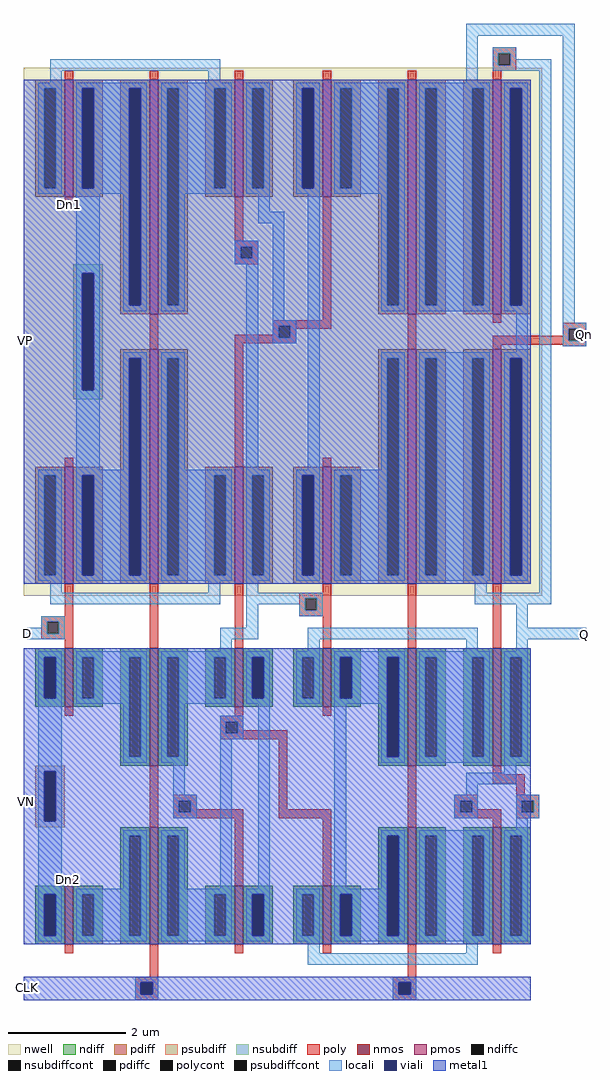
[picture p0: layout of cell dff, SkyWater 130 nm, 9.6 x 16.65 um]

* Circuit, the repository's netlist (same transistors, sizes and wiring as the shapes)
* NGSPICE file created from dff.ext - technology: sky130A

.subckt dff Dn1 Qn Q D Dn2 VP VN CLK
X0 Q CLK a_910_0# VP sky130_fd_pr__pfet_01v8 ad=2 pd=9 as=2 ps=9 w=4 l=0.15
X1 a_320_n1230# a_320_n620# a_n100_1320# VP sky130_fd_pr__pfet_01v8 ad=1 pd=5 as=1 ps=5 w=2 l=0.15
X2 a_30_n420# D VN VN sky130_fd_pr__nfet_01v8 ad=0.5 pd=3 as=0.5 ps=3 w=1 l=0.15
X3 a_30_n1230# Dn2 VN VN sky130_fd_pr__nfet_01v8 ad=0.5 pd=3 as=0.5 ps=3 w=1 l=0.15
X4 Qn CLK a_910_1320# VP sky130_fd_pr__pfet_01v8 ad=2 pd=9 as=2 ps=9 w=4 l=0.15
X5 Qn Q a_780_n1230# VN sky130_fd_pr__nfet_01v8 ad=1 pd=5 as=1 ps=5 w=2 l=0.15
X6 a_780_n1230# CLK VN VN sky130_fd_pr__nfet_01v8 ad=1 pd=5 as=1 ps=5 w=2 l=0.15
X7 a_n100_1320# CLK VP VP sky130_fd_pr__pfet_01v8 ad=2 pd=9 as=2 ps=9 w=4 l=0.15
X8 a_320_n620# a_320_n1230# a_n100_0# VP sky130_fd_pr__pfet_01v8 ad=1 pd=5 as=1 ps=5 w=2 l=0.15
X9 Q Qn a_780_n420# VN sky130_fd_pr__nfet_01v8 ad=1 pd=5 as=1 ps=5 w=2 l=0.15
X10 a_320_n620# CLK a_30_n420# VN sky130_fd_pr__nfet_01v8 ad=1 pd=5 as=1 ps=5 w=2 l=0.15
X11 a_910_1320# a_320_n1230# VP VP sky130_fd_pr__pfet_01v8 ad=1 pd=5 as=1 ps=5 w=2 l=0.15
X12 VN a_320_n1230# a_780_n1230# VN sky130_fd_pr__nfet_01v8 ad=0.5 pd=3 as=0.5 ps=3 w=1 l=0.15
X13 VP Q Qn VP sky130_fd_pr__pfet_01v8 ad=2 pd=9 as=2 ps=9 w=4 l=0.15
X14 VN a_320_n1230# a_320_n620# VN sky130_fd_pr__nfet_01v8 ad=0.5 pd=3 as=0.5 ps=3 w=1 l=0.15
X15 VP Qn Q VP sky130_fd_pr__pfet_01v8 ad=2 pd=9 as=2 ps=9 w=4 l=0.15
X16 a_n100_0# CLK VP VP sky130_fd_pr__pfet_01v8 ad=2 pd=9 as=2 ps=9 w=4 l=0.15
X17 a_780_n420# CLK VN VN sky130_fd_pr__nfet_01v8 ad=1 pd=5 as=1 ps=5 w=2 l=0.15
X18 VN a_320_n620# a_320_n1230# VN sky130_fd_pr__nfet_01v8 ad=0.5 pd=3 as=0.5 ps=3 w=1 l=0.15
X19 VP Dn1 a_n100_1320# VP sky130_fd_pr__pfet_01v8 ad=1 pd=5 as=1 ps=5 w=2 l=0.15
X20 a_320_n1230# CLK a_30_n1230# VN sky130_fd_pr__nfet_01v8 ad=1 pd=5 as=1 ps=5 w=2 l=0.15
X21 VN a_320_n620# a_780_n420# VN sky130_fd_pr__nfet_01v8 ad=0.5 pd=3 as=0.5 ps=3 w=1 l=0.15
X22 a_910_0# a_320_n620# VP VP sky130_fd_pr__pfet_01v8 ad=1 pd=5 as=1 ps=5 w=2 l=0.15
X23 VP D a_n100_0# VP sky130_fd_pr__pfet_01v8 ad=1 pd=5 as=1 ps=5 w=2 l=0.15
.ends

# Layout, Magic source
magic
tech sky130A
<< nwell >>
rect -70 -20 815 880
<< nmos >>
rect 0 -210 15 -110
rect 145 -310 160 -110
rect 290 -210 305 -110
rect 440 -210 455 -110
rect 585 -310 600 -110
rect 730 -310 745 -110
rect 0 -615 15 -515
rect 145 -615 160 -415
rect 290 -615 305 -515
rect 440 -615 455 -515
rect 585 -615 600 -415
rect 730 -615 745 -415
<< pmos >>
rect 0 660 15 860
rect 145 460 160 860
rect 290 660 305 860
rect 440 660 455 860
rect 585 460 600 860
rect 730 460 745 860
rect 0 0 15 200
rect 145 0 160 400
rect 290 0 305 200
rect 440 0 455 200
rect 585 0 600 400
rect 730 0 745 400
<< ndiff >>
rect -50 -125 0 -110
rect -50 -195 -35 -125
rect -15 -195 0 -125
rect -50 -210 0 -195
rect 15 -125 65 -110
rect 15 -195 30 -125
rect 50 -195 65 -125
rect 15 -210 65 -195
rect 95 -125 145 -110
rect 95 -295 110 -125
rect 130 -295 145 -125
rect 95 -310 145 -295
rect 160 -125 210 -110
rect 160 -295 175 -125
rect 195 -295 210 -125
rect 240 -125 290 -110
rect 240 -195 255 -125
rect 275 -195 290 -125
rect 240 -210 290 -195
rect 305 -125 355 -110
rect 305 -195 320 -125
rect 340 -195 355 -125
rect 305 -210 355 -195
rect 390 -125 440 -110
rect 390 -195 405 -125
rect 425 -195 440 -125
rect 390 -210 440 -195
rect 455 -125 505 -110
rect 455 -195 470 -125
rect 490 -195 505 -125
rect 455 -210 505 -195
rect 535 -125 585 -110
rect 160 -310 210 -295
rect 535 -295 550 -125
rect 570 -295 585 -125
rect 535 -310 585 -295
rect 600 -125 650 -110
rect 600 -295 615 -125
rect 635 -295 650 -125
rect 600 -310 650 -295
rect 680 -125 730 -110
rect 680 -295 695 -125
rect 715 -295 730 -125
rect 680 -310 730 -295
rect 745 -125 795 -110
rect 745 -295 760 -125
rect 780 -295 795 -125
rect 745 -310 795 -295
rect 95 -430 145 -415
rect -50 -530 0 -515
rect -50 -600 -35 -530
rect -15 -600 0 -530
rect -50 -615 0 -600
rect 15 -530 65 -515
rect 15 -600 30 -530
rect 50 -600 65 -530
rect 15 -615 65 -600
rect 95 -600 110 -430
rect 130 -600 145 -430
rect 95 -615 145 -600
rect 160 -430 210 -415
rect 160 -600 175 -430
rect 195 -600 210 -430
rect 535 -430 585 -415
rect 160 -615 210 -600
rect 240 -530 290 -515
rect 240 -600 255 -530
rect 275 -600 290 -530
rect 240 -615 290 -600
rect 305 -530 355 -515
rect 305 -600 320 -530
rect 340 -600 355 -530
rect 305 -615 355 -600
rect 390 -530 440 -515
rect 390 -600 405 -530
rect 425 -600 440 -530
rect 390 -615 440 -600
rect 455 -530 505 -515
rect 455 -600 470 -530
rect 490 -600 505 -530
rect 455 -615 505 -600
rect 535 -600 550 -430
rect 570 -600 585 -430
rect 535 -615 585 -600
rect 600 -430 650 -415
rect 600 -600 615 -430
rect 635 -600 650 -430
rect 600 -615 650 -600
rect 680 -430 730 -415
rect 680 -600 695 -430
rect 715 -600 730 -430
rect 680 -615 730 -600
rect 745 -430 795 -415
rect 745 -600 760 -430
rect 780 -600 795 -430
rect 745 -615 795 -600
<< pdiff >>
rect -50 845 0 860
rect -50 675 -35 845
rect -15 675 0 845
rect -50 660 0 675
rect 15 845 65 860
rect 15 675 30 845
rect 50 675 65 845
rect 15 660 65 675
rect 95 845 145 860
rect 95 475 110 845
rect 130 475 145 845
rect 95 460 145 475
rect 160 845 210 860
rect 160 475 175 845
rect 195 475 210 845
rect 240 845 290 860
rect 240 675 255 845
rect 275 675 290 845
rect 240 660 290 675
rect 305 845 355 860
rect 305 675 320 845
rect 340 675 355 845
rect 305 660 355 675
rect 390 845 440 860
rect 390 675 405 845
rect 425 675 440 845
rect 390 660 440 675
rect 455 845 505 860
rect 455 675 470 845
rect 490 675 505 845
rect 455 660 505 675
rect 535 845 585 860
rect 160 460 210 475
rect 535 475 550 845
rect 570 475 585 845
rect 535 460 585 475
rect 600 845 650 860
rect 600 475 615 845
rect 635 475 650 845
rect 600 460 650 475
rect 680 845 730 860
rect 680 475 695 845
rect 715 475 730 845
rect 680 460 730 475
rect 745 845 795 860
rect 745 475 760 845
rect 780 475 795 845
rect 745 460 795 475
rect 95 385 145 400
rect -50 185 0 200
rect -50 15 -35 185
rect -15 15 0 185
rect -50 0 0 15
rect 15 185 65 200
rect 15 15 30 185
rect 50 15 65 185
rect 15 0 65 15
rect 95 15 110 385
rect 130 15 145 385
rect 95 0 145 15
rect 160 385 210 400
rect 160 15 175 385
rect 195 15 210 385
rect 535 385 585 400
rect 160 0 210 15
rect 240 185 290 200
rect 240 15 255 185
rect 275 15 290 185
rect 240 0 290 15
rect 305 185 355 200
rect 305 15 320 185
rect 340 15 355 185
rect 305 0 355 15
rect 390 185 440 200
rect 390 15 405 185
rect 425 15 440 185
rect 390 0 440 15
rect 455 185 505 200
rect 455 15 470 185
rect 490 15 505 185
rect 455 0 505 15
rect 535 15 550 385
rect 570 15 585 385
rect 535 0 585 15
rect 600 385 650 400
rect 600 15 615 385
rect 635 15 650 385
rect 600 0 650 15
rect 680 385 730 400
rect 680 15 695 385
rect 715 15 730 385
rect 680 0 730 15
rect 745 385 795 400
rect 745 15 760 385
rect 780 15 795 385
rect 745 0 795 15
<< ndiffc >>
rect -35 -195 -15 -125
rect 30 -195 50 -125
rect 110 -295 130 -125
rect 175 -295 195 -125
rect 255 -195 275 -125
rect 320 -195 340 -125
rect 405 -195 425 -125
rect 470 -195 490 -125
rect 550 -295 570 -125
rect 615 -295 635 -125
rect 695 -295 715 -125
rect 760 -295 780 -125
rect -35 -600 -15 -530
rect 30 -600 50 -530
rect 110 -600 130 -430
rect 175 -600 195 -430
rect 255 -600 275 -530
rect 320 -600 340 -530
rect 405 -600 425 -530
rect 470 -600 490 -530
rect 550 -600 570 -430
rect 615 -600 635 -430
rect 695 -600 715 -430
rect 760 -600 780 -430
<< pdiffc >>
rect -35 675 -15 845
rect 30 675 50 845
rect 110 475 130 845
rect 175 475 195 845
rect 255 675 275 845
rect 320 675 340 845
rect 405 675 425 845
rect 470 675 490 845
rect 550 475 570 845
rect 615 475 635 845
rect 695 475 715 845
rect 760 475 780 845
rect -35 15 -15 185
rect 30 15 50 185
rect 110 15 130 385
rect 175 15 195 385
rect 255 15 275 185
rect 320 15 340 185
rect 405 15 425 185
rect 470 15 490 185
rect 550 15 570 385
rect 615 15 635 385
rect 695 15 715 385
rect 760 15 780 385
<< psubdiff >>
rect -50 -320 0 -310
rect -50 -405 -35 -320
rect -15 -405 0 -320
rect -50 -415 0 -405
<< nsubdiff >>
rect 15 530 65 545
rect 15 330 30 530
rect 50 330 65 530
rect 15 315 65 330
<< psubdiffcont >>
rect -35 -405 -15 -320
<< nsubdiffcont >>
rect 30 330 50 530
<< poly >>
rect 730 905 770 915
rect 730 885 740 905
rect 760 885 770 905
rect 730 875 770 885
rect 0 860 15 875
rect 145 860 160 875
rect 290 860 305 875
rect 440 860 455 875
rect 585 860 600 875
rect 730 860 745 875
rect 0 645 15 660
rect 290 585 305 660
rect 290 575 330 585
rect 290 555 300 575
rect 320 555 330 575
rect 290 545 330 555
rect 145 400 160 460
rect 440 450 455 660
rect 355 440 455 450
rect 355 425 365 440
rect 290 420 365 425
rect 385 435 455 440
rect 385 420 395 435
rect 290 410 395 420
rect 0 200 15 215
rect 290 200 305 410
rect 585 400 600 460
rect 730 445 745 460
rect 850 435 890 445
rect 850 423 860 435
rect 730 415 860 423
rect 880 415 890 435
rect 730 408 890 415
rect 730 400 745 408
rect 850 405 890 408
rect 440 200 455 215
rect 0 -55 15 0
rect -40 -65 15 -55
rect -40 -85 -30 -65
rect -10 -85 15 -65
rect -40 -95 15 -85
rect 0 -110 15 -95
rect 145 -110 160 0
rect 290 -110 305 0
rect 440 -15 455 0
rect 400 -25 455 -15
rect 400 -45 410 -25
rect 430 -45 455 -25
rect 400 -55 455 -45
rect 440 -110 455 -55
rect 585 -110 600 0
rect 730 -110 745 0
rect 0 -225 15 -210
rect 290 -225 305 -210
rect 440 -225 455 -210
rect 265 -235 305 -225
rect 265 -255 275 -235
rect 295 -250 305 -235
rect 295 -255 380 -250
rect 265 -265 380 -255
rect 145 -415 160 -310
rect 185 -370 225 -360
rect 185 -390 195 -370
rect 215 -385 225 -370
rect 365 -385 380 -265
rect 215 -390 305 -385
rect 185 -400 305 -390
rect 365 -400 455 -385
rect 0 -515 15 -500
rect 290 -515 305 -400
rect 440 -515 455 -400
rect 585 -415 600 -310
rect 730 -325 745 -310
rect 730 -340 785 -325
rect 770 -360 785 -340
rect 665 -370 705 -360
rect 665 -390 675 -370
rect 695 -385 705 -370
rect 770 -370 810 -360
rect 695 -390 745 -385
rect 665 -400 745 -390
rect 770 -390 780 -370
rect 800 -390 810 -370
rect 770 -400 810 -390
rect 730 -415 745 -400
rect 0 -630 15 -615
rect 145 -670 160 -615
rect 290 -630 305 -615
rect 440 -630 455 -615
rect 585 -670 600 -615
rect 730 -630 745 -615
rect 120 -680 160 -670
rect 120 -700 130 -680
rect 150 -700 160 -680
rect 120 -710 160 -700
rect 560 -680 600 -670
rect 560 -700 570 -680
rect 590 -700 600 -680
rect 560 -710 600 -700
<< polycont >>
rect 740 885 760 905
rect 300 555 320 575
rect 365 420 385 440
rect 860 415 880 435
rect -30 -85 -10 -65
rect 410 -45 430 -25
rect 275 -255 295 -235
rect 195 -390 215 -370
rect 675 -390 695 -370
rect 780 -390 800 -370
rect 130 -700 150 -680
rect 570 -700 590 -680
<< locali >>
rect 685 935 870 955
rect -25 875 265 895
rect -25 855 -5 875
rect 245 855 265 875
rect 685 855 705 935
rect 730 905 770 915
rect 730 885 740 905
rect 760 895 770 905
rect 760 885 830 895
rect 730 875 830 885
rect -45 845 -5 855
rect -45 675 -35 845
rect -15 675 -5 845
rect -45 665 -5 675
rect 20 845 140 855
rect 20 675 30 845
rect 50 675 110 845
rect 20 665 110 675
rect 20 530 60 665
rect 20 330 30 530
rect 50 330 60 530
rect 100 475 110 665
rect 130 475 140 845
rect 100 465 140 475
rect 165 845 285 855
rect 165 475 175 845
rect 195 675 255 845
rect 275 675 285 845
rect 195 665 285 675
rect 310 845 350 855
rect 310 675 320 845
rect 340 675 350 845
rect 310 665 350 675
rect 395 845 435 855
rect 395 675 405 845
rect 425 675 435 845
rect 395 665 435 675
rect 460 845 580 855
rect 460 675 470 845
rect 490 675 550 845
rect 460 665 550 675
rect 195 475 205 665
rect 330 635 350 665
rect 330 615 375 635
rect 290 575 330 585
rect 290 555 300 575
rect 320 555 330 575
rect 290 545 330 555
rect 165 465 205 475
rect 20 195 60 330
rect 100 385 140 395
rect 100 195 110 385
rect -45 185 -5 195
rect -45 15 -35 185
rect -15 15 -5 185
rect -45 5 -5 15
rect 20 185 110 195
rect 20 15 30 185
rect 50 15 110 185
rect 130 15 140 385
rect 20 5 140 15
rect 165 385 205 395
rect 165 15 175 385
rect 195 195 205 385
rect 310 195 330 545
rect 355 450 375 615
rect 355 440 395 450
rect 355 420 365 440
rect 385 420 395 440
rect 355 410 395 420
rect 415 195 435 665
rect 540 475 550 665
rect 570 475 580 845
rect 540 465 580 475
rect 605 845 725 855
rect 605 475 615 845
rect 635 475 695 845
rect 715 475 725 845
rect 605 465 725 475
rect 750 845 790 855
rect 750 475 760 845
rect 780 475 790 845
rect 750 465 790 475
rect 770 395 790 465
rect 540 385 580 395
rect 540 195 550 385
rect 195 185 285 195
rect 195 15 255 185
rect 275 15 285 185
rect 165 5 285 15
rect 310 185 350 195
rect 310 15 320 185
rect 340 15 350 185
rect 310 5 350 15
rect 395 185 435 195
rect 395 15 405 185
rect 425 15 435 185
rect 395 5 435 15
rect 460 185 550 195
rect 460 15 470 185
rect 490 15 550 185
rect 570 15 580 385
rect 460 5 580 15
rect 605 385 725 395
rect 605 15 615 385
rect 635 15 695 385
rect 715 15 725 385
rect 605 5 725 15
rect 750 385 790 395
rect 750 15 760 385
rect 780 15 790 385
rect 750 5 790 15
rect -25 -15 -5 5
rect 245 -15 265 5
rect -25 -35 265 -15
rect 310 -15 330 5
rect 700 -15 720 5
rect 810 -15 830 875
rect 850 445 870 935
rect 850 435 890 445
rect 850 415 860 435
rect 880 415 890 435
rect 850 405 890 415
rect 310 -25 440 -15
rect 310 -35 410 -25
rect -40 -65 0 -55
rect -40 -75 -30 -65
rect -70 -85 -30 -75
rect -10 -85 0 -65
rect 310 -75 330 -35
rect 400 -45 410 -35
rect 430 -45 440 -25
rect 700 -35 830 -15
rect 400 -55 440 -45
rect 770 -75 790 -35
rect -70 -95 0 -85
rect 265 -95 330 -75
rect 415 -95 705 -75
rect 265 -115 285 -95
rect 415 -115 435 -95
rect 685 -115 705 -95
rect 770 -95 890 -75
rect 770 -115 790 -95
rect -45 -125 -5 -115
rect -45 -195 -35 -125
rect -15 -195 -5 -125
rect -45 -320 -5 -195
rect 20 -125 140 -115
rect 20 -195 30 -125
rect 50 -195 110 -125
rect 20 -205 110 -195
rect 100 -295 110 -205
rect 130 -295 140 -125
rect 100 -305 140 -295
rect 165 -125 285 -115
rect 165 -295 175 -125
rect 195 -195 255 -125
rect 275 -195 285 -125
rect 195 -205 285 -195
rect 310 -125 350 -115
rect 310 -195 320 -125
rect 340 -195 350 -125
rect 310 -205 350 -195
rect 395 -125 435 -115
rect 395 -195 405 -125
rect 425 -195 435 -125
rect 395 -205 435 -195
rect 460 -125 580 -115
rect 460 -195 470 -125
rect 490 -195 550 -125
rect 460 -205 550 -195
rect 195 -295 205 -205
rect 165 -305 205 -295
rect -45 -405 -35 -320
rect -15 -405 -5 -320
rect 185 -360 205 -305
rect 265 -235 305 -225
rect 265 -255 275 -235
rect 295 -255 305 -235
rect 265 -265 305 -255
rect 185 -370 225 -360
rect 185 -390 195 -370
rect 215 -390 225 -370
rect 185 -400 225 -390
rect -45 -530 -5 -405
rect 100 -430 140 -420
rect 100 -520 110 -430
rect -45 -600 -35 -530
rect -15 -600 -5 -530
rect -45 -610 -5 -600
rect 20 -530 110 -520
rect 20 -600 30 -530
rect 50 -600 110 -530
rect 130 -600 140 -430
rect 20 -610 140 -600
rect 165 -430 205 -420
rect 165 -600 175 -430
rect 195 -520 205 -430
rect 265 -520 285 -265
rect 330 -520 350 -205
rect 460 -520 480 -205
rect 540 -295 550 -205
rect 570 -295 580 -125
rect 540 -305 580 -295
rect 605 -125 725 -115
rect 605 -295 615 -125
rect 635 -295 695 -125
rect 715 -295 725 -125
rect 605 -305 725 -295
rect 750 -125 790 -115
rect 750 -295 760 -125
rect 780 -295 790 -125
rect 750 -305 790 -295
rect 750 -322 770 -305
rect 685 -342 770 -322
rect 685 -360 705 -342
rect 665 -370 705 -360
rect 665 -390 675 -370
rect 695 -390 705 -370
rect 665 -400 705 -390
rect 770 -370 810 -360
rect 770 -390 780 -370
rect 800 -390 810 -370
rect 770 -400 810 -390
rect 770 -420 790 -400
rect 540 -430 580 -420
rect 540 -520 550 -430
rect 195 -530 285 -520
rect 195 -600 255 -530
rect 275 -600 285 -530
rect 165 -610 285 -600
rect 310 -530 350 -520
rect 310 -600 320 -530
rect 340 -600 350 -530
rect 310 -610 350 -600
rect 395 -530 435 -520
rect 395 -600 405 -530
rect 425 -600 435 -530
rect 395 -610 435 -600
rect 460 -530 550 -520
rect 460 -600 470 -530
rect 490 -600 550 -530
rect 570 -600 580 -430
rect 460 -610 580 -600
rect 605 -430 725 -420
rect 605 -600 615 -430
rect 635 -600 695 -430
rect 715 -600 725 -430
rect 605 -610 725 -600
rect 750 -430 790 -420
rect 750 -600 760 -430
rect 780 -600 790 -430
rect 750 -610 790 -600
rect 415 -630 435 -610
rect 685 -630 705 -610
rect 415 -650 705 -630
rect 120 -680 160 -670
rect 120 -700 130 -680
rect 150 -700 160 -680
rect 120 -710 160 -700
rect 560 -680 600 -670
rect 560 -700 570 -680
rect 590 -700 600 -680
rect 560 -710 600 -700
<< viali >>
rect 30 675 50 845
rect 30 330 50 530
rect 110 475 130 845
rect 405 675 425 845
rect 30 15 50 185
rect 110 15 130 385
rect 760 475 780 845
rect 405 15 425 185
rect 760 15 780 385
rect -35 -195 -15 -125
rect 320 -195 340 -125
rect 470 -195 490 -125
rect -35 -405 -15 -320
rect -35 -600 -15 -530
rect 550 -295 570 -125
rect 320 -600 340 -530
rect 470 -600 490 -530
rect 550 -600 570 -430
rect 130 -700 150 -680
rect 570 -700 590 -680
<< metal1 >>
rect -70 845 795 860
rect -70 675 30 845
rect 50 675 110 845
rect -70 530 110 675
rect -70 330 30 530
rect 50 475 110 530
rect 130 675 405 845
rect 425 675 760 845
rect 130 475 760 675
rect 780 475 795 845
rect 50 385 795 475
rect 50 330 110 385
rect -70 185 110 330
rect -70 15 30 185
rect 50 15 110 185
rect 130 185 760 385
rect 130 15 405 185
rect 425 15 760 185
rect 780 15 795 385
rect -70 0 795 15
rect -70 -125 795 -110
rect -70 -195 -35 -125
rect -15 -195 320 -125
rect 340 -195 470 -125
rect 490 -195 550 -125
rect -70 -295 550 -195
rect 570 -295 795 -125
rect -70 -320 795 -295
rect -70 -405 -35 -320
rect -15 -405 795 -320
rect -70 -430 795 -405
rect -70 -530 550 -430
rect -70 -600 -35 -530
rect -15 -600 320 -530
rect 340 -600 470 -530
rect 490 -600 550 -530
rect 570 -600 795 -430
rect -70 -615 795 -600
rect -70 -680 795 -670
rect -70 -700 130 -680
rect 150 -700 570 -680
rect 590 -700 795 -680
rect -70 -710 795 -700
<< labels >>
rlabel poly 7 647 8 647 1 Dn1
port 1 n
rlabel locali 887 425 887 425 1 Qn
port 2 n
rlabel locali 886 -86 886 -86 1 Q
port 3 n
rlabel locali -64 -85 -64 -85 1 D
port 4 n
rlabel poly 7 -504 7 -504 1 Dn2
port 5 n
rlabel metal1 -68 414 -67 416 3 VP
port 6 e
rlabel metal1 -66 -372 -65 -370 1 VN
port 7 n
rlabel metal1 -64 -690 -62 -689 1 CLK
port 8 n
<< end >>
